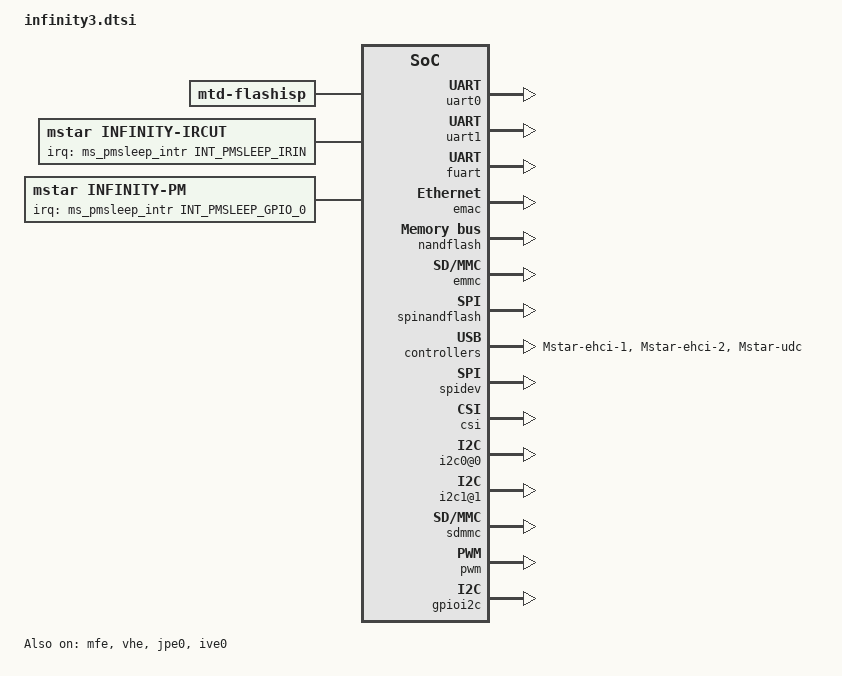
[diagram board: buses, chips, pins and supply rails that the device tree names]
/*
 * Copyright (c) 2014 MundoReader S.L.
 * Author: Matthias Brugger <matthias.bgg@gmail.com>
 *
 * This program is free software; you can redistribute it and/or modify
 * it under the terms of the GNU General Public License as published by
 * the Free Software Foundation; either version 2 of the License, or
 * (at your option) any later version.
 *
 * This program is distributed in the hope that it will be useful,
 * but WITHOUT ANY WARRANTY; without even the implied warranty of
 * MERCHANTABILITY or FITNESS FOR A PARTICULAR PURPOSE.  See the
 * GNU General Public License for more details.
 */

#include <../../../../drivers/mstar/include/infinity3/irqs.h>
#include <../../../../drivers/mstar/include/infinity3/gpio.h>
#include <dt-bindings/interrupt-controller/irq.h>
#include <dt-bindings/interrupt-controller/arm-gic.h>
#include "skeleton.dtsi"


/ {
    cpus {
        #address-cells = <1>;
        #size-cells = <0>;

        cpu@0 {
            device_type = "cpu";
            compatible = "arm,cortex-a7";
            clocks = <&CLK_cpupll_clk>;
        };
    };

    aliases {
        console = &uart0;
        serial0 = &uart0;
        serial1 = &uart1;
        serial2 = &fuart;
    };

    soc {
        compatible = "simple-bus";
        interrupt-parent = <&gic>;
        #address-cells = <1>;
        #size-cells = <1>;
        ranges;

        gic: interrupt-controller@16000000 {
            compatible = "arm,cortex-a7-gic";
            #interrupt-cells = <3>;
            #address-cells = <1>;
            #size-cells = <1>;
            interrupt-controller;
            reg = <0x16001000 0x1000>,
                  <0x16002000 0x1000>;
        };

        ms_pmsleep_intr: interrupt-controller@0 {
            compatible = "mstar,pmsleep-intr";
            #interrupt-cells = <1>;
            interrupt-parent=<&gic>;
            interrupt-controller;
        };


        arch_timer {
            compatible = "arm,cortex-a7-timer", "arm,armv7-timer";
            interrupts = <GIC_PPI 13 (GIC_CPU_MASK_SIMPLE(2) | IRQ_TYPE_LEVEL_LOW)>,
                         <GIC_PPI 14 (GIC_CPU_MASK_SIMPLE(2) | IRQ_TYPE_LEVEL_LOW)>,
                         <GIC_PPI 11 (GIC_CPU_MASK_SIMPLE(2) | IRQ_TYPE_LEVEL_LOW)>,
                         <GIC_PPI 10 (GIC_CPU_MASK_SIMPLE(2) | IRQ_TYPE_LEVEL_LOW)>;
            clock-frequency = <6000000>;
        };

        pmu {
            compatible = "arm,cortex-a7-pmu";
            interrupts = <GIC_SPI 10 IRQ_TYPE_LEVEL_HIGH>,
                         <GIC_SPI 16 IRQ_TYPE_LEVEL_HIGH>,
                         <GIC_SPI 22 IRQ_TYPE_LEVEL_HIGH>,
                         <GIC_SPI 28 IRQ_TYPE_LEVEL_HIGH>;
        };

        clks: clocks{
            #address-cells = <1>;
            #size-cells = <1>;
            ranges;
        };

/*
        timer_clockevent: timer@1F006040 {
            compatible = "mstar,piu-clockevent";
            reg = <0x1F006040 0x100>;
            interrupts=<GIC_SPI INT_FIQ_TIMER_0 IRQ_TYPE_LEVEL_HIGH>;
            clocks = <&CLK_xtali_12m>;
        };
*/
        mfe: mfe {
            compatible = "mstar,mfe";
            reg = <0x1F264800 0x200>;
            interrupts=<GIC_SPI INT_IRQ_MFE IRQ_TYPE_LEVEL_HIGH>;
            clocks = <&CLK_mfe>,<&GATE_MCM_mfe>, <&GATE_SRAM_mfe>;
            clock-names = "CKG_mfe";
            status = "ok";
        };

        vhe: vhe {
            compatible = "mstar,vhe";
            reg = <0x1F265200 0x200>,<0x1F265000 0x100>;
            interrupts=<GIC_SPI INT_IRQ_VHE IRQ_TYPE_LEVEL_HIGH>;
            clocks = <&CLK_vhe>,<&GATE_MCM_vhe>, <&GATE_SRAM_vhe>;
            clock-names = "CKG_vhe";
            status = "ok";
        };

        hvsp1: hvsp1 {
            compatible = "mstar,hvsp1";
            //reg = <0x1F000000 0x100>;
            //clk,chiptop,hvsp0,sc0,dnr,ldc
            clocks = <&CLK_idclk>,<&CLK_fclk1>,<&CLK_fclk2>,<&CLK_odclk>;
            clock-names = "CLK_idclk","CLK_fclk1","CLK_fclk2","CLK_odclk";
            status = "ok";
            DigitalZoom-Dropmode = <1>;
            interrupts = <GIC_SPI INT_IRQ_SC_TOP IRQ_TYPE_LEVEL_HIGH>, <GIC_SPI INT_IRQ_CMDQ IRQ_TYPE_LEVEL_HIGH>;
        };

        hvsp2: hvsp2 {
            compatible = "mstar,hvsp2";
            //reg = <0x1F000000 0x100>;
            //clk,chiptop,hvsp0,sc0,dnr,ldc
            clocks = <&CLK_idclk>,<&CLK_fclk1>,<&CLK_fclk2>,<&CLK_odclk>;
            clock-names = "CLK_idclk","CLK_fclk1","CLK_fclk2","CLK_odclk";
            status = "ok";
            interrupts = <GIC_SPI INT_IRQ_SC_TOP IRQ_TYPE_LEVEL_HIGH>, <GIC_SPI INT_IRQ_CMDQ IRQ_TYPE_LEVEL_HIGH>;
        };

        hvsp3: hvsp3 {
            compatible = "mstar,hvsp3";
            //reg = <0x1F000000 0x100>;
            //clk,chiptop,hvsp0,sc0,dnr,ldc
            clocks = <&CLK_idclk>,<&CLK_fclk1>,<&CLK_fclk2>,<&CLK_odclk>;
            clock-names = "CLK_idclk","CLK_fclk1","CLK_fclk2","CLK_odclk";
            status = "ok";
            interrupts = <GIC_SPI INT_IRQ_SC_TOP IRQ_TYPE_LEVEL_HIGH>, <GIC_SPI INT_IRQ_CMDQ IRQ_TYPE_LEVEL_HIGH>;
        };

        scldma1: scldma1 {
            compatible = "mstar,scldma1";
            //reg = <0x1F000000 0x100>;
            //clk,chiptop,scldma
            clocks =  <&CLK_idclk>,<&CLK_fclk1>,<&CLK_fclk2>,<&CLK_odclk>;
            clock-names = "CLK_idclk","CLK_fclk1","CLK_fclk2","CLK_odclk";
            status = "ok";
            interrupts = <GIC_SPI INT_IRQ_SC_TOP IRQ_TYPE_LEVEL_HIGH>;
        };
        scldma2: scldma2 {
            compatible = "mstar,scldma2";
            //reg = <0x1F000000 0x100>;
            //clk,chiptop,scldma
            clocks =  <&CLK_idclk>,<&CLK_fclk1>,<&CLK_fclk2>,<&CLK_odclk>;
            clock-names = "CLK_idclk","CLK_fclk1","CLK_fclk2","CLK_odclk";
            status = "ok";
            interrupts = <GIC_SPI INT_IRQ_SC_TOP IRQ_TYPE_LEVEL_HIGH>;
        };
        scldma3: scldma3 {
            compatible = "mstar,scldma3";
            //reg = <0x1F000000 0x100>;
            //clk,chiptop,scldma
            clocks =  <&CLK_idclk>,<&CLK_fclk1>,<&CLK_fclk2>,<&CLK_odclk>;
            clock-names = "CLK_idclk","CLK_fclk1","CLK_fclk2","CLK_odclk";
            status = "ok";
            interrupts = <GIC_SPI INT_IRQ_SC_TOP IRQ_TYPE_LEVEL_HIGH>;
        };
        scldma4: scldma4 {
            compatible = "mstar,scldma4";
            //reg = <0x1F000000 0x100>;
            //clk,chiptop,scldma
            clocks =  <&CLK_idclk>,<&CLK_fclk1>,<&CLK_fclk2>,<&CLK_odclk>;
            clock-names = "CLK_idclk","CLK_fclk1","CLK_fclk2","CLK_odclk";
            status = "ok";
            interrupts = <GIC_SPI INT_IRQ_SC_TOP IRQ_TYPE_LEVEL_HIGH>;
        };

        vip: vip {
            compatible = "mstar,vip";
            status = "ok";
            CMDQ-mode = <1>;
            //reg = <0x1F224000 0x200>;
        };

        pnl: pnl {
            compatible = "mstar,pnl";
            status = "ok";
            ttl-mode = <1>;
            jtag-mode = <0>;
            //Reg = <0x1F224000 0x200>;
        };

        uart0: uart0@1F221000 {
            compatible = "mstar,uart";
            reg = <0x1F221000 0x100>;
            interrupts = <GIC_SPI INT_IRQ_UART_0 IRQ_TYPE_LEVEL_HIGH>;
            clocks = <&CLK_uart0>;
            status = "ok";
        };
        uart1: uart1@1F221200 {
            compatible = "mstar,uart";
            reg = <0x1F221200 0x100>;
            interrupts = <GIC_SPI INT_IRQ_UART_1 IRQ_TYPE_LEVEL_HIGH>;
            clocks = <&CLK_uart1>;
            pad = <PAD_UART1_TX>;
            //pad = <PAD_FUART_RTS>;
            //pad = <PAD_GPIO6>;
            status = "ok";
        };
        fuart: uart2@1F220400 {
            compatible = "mstar,uart";
            reg = <0x1F220400 0x100>, <0x1F220600 0x100>;
            interrupts = <GIC_SPI INT_IRQ_FUART IRQ_TYPE_LEVEL_HIGH>, <GIC_SPI INT_IRQ_URDMA IRQ_TYPE_LEVEL_HIGH>;
            clocks = <&CLK_fuart>;
            dma = <1>;
            pad = <PAD_UART0_TX>;
            //pad = <PAD_FUART_TX>;
            //pad = <PAD_GPIO4>;
            status = "ok";
        };

        emac {
            compatible = "mstar-emac";
            interrupts = <GIC_SPI INT_IRQ_EMAC IRQ_TYPE_LEVEL_HIGH>, <GIC_SPI INT_FIQ_LAN_ESD IRQ_TYPE_LEVEL_HIGH>;
            clocks = <&CLK_emac_ahb>,<&CLK_emac_tx>,<&CLK_emac_rx>,<&GATE_MCM_emac>, <&GATE_SRAM_emac>;
            //led-orange = <PAD_SPI0_DI>; //software toggle GPIO LED For QFN
            //led-green = <PAD_SPI0_DO>;  //software toggle GPIO LED For QFN
        };

        flashisp {
            compatible = "mtd-flashisp";
            clocks = <&CLK_bdma>;
            quadread = <0>;
            status = "ok";
        };

        nandflash {
            compatible = "ms-nand";
            clocks =<&CLK_fcie>, <&CLK_ecc>, <&GATE_MCM_fcie>, <&GATE_SRAM_fcie>;
            interrupts =  <GIC_SPI INT_IRQ_FCIE IRQ_TYPE_LEVEL_HIGH>;
            status = "ok";
        };

		emmc {
            compatible = "mstar_mci";
            clocks =<&CLK_fcie>, <&CLK_ecc>, <&GATE_MCM_fcie>, <&GATE_SRAM_fcie>;
            interrupts =  <GIC_SPI INT_IRQ_FCIE IRQ_TYPE_LEVEL_HIGH>;
            status = "ok";
        };


        spinandflash {
            compatible = "ms-spinand";
            clocks =<&CLK_bdma>;
            status = "ok";
        };

        Mstar-ehci-1 {
            compatible = "Mstar-ehci-1";
            clocks = <&CLK_utmi>, <&GATE_MCM_usb>, <&GATE_SRAM_usb>;
            interrupts = <GIC_SPI INT_IRQ_UHC IRQ_TYPE_LEVEL_HIGH>;
            dpdm_swap=<0>;
            power-enable-pad = <PAD_PM_GPIO2>; //PAD_SPI0_CK
            status = "ok";
        };

        Mstar-ehci-2 {
            compatible = "Mstar-ehci-2";
            clocks = <&CLK_utmi>, <&GATE_MCM_usb>, <&GATE_SRAM_usb>;
            interrupts = <GIC_SPI INT_IRQ_UHC_INT_P1 IRQ_TYPE_LEVEL_HIGH>;
            dpdm_swap=<0>;
            status = "ok";
        };

        Mstar-udc {
            compatible = "Mstar-udc";
            interrupts = <GIC_SPI INT_IRQ_OTG IRQ_TYPE_LEVEL_HIGH>;
            status = "ok";
        };

        isp: isp {
            compatible = "isp";
            io_phy_addr = <0x1f000000>;
            banks = <0x1302>,<0x1303>,<0x1304>,<0x1305>,<0x1306>,<0x1307>,<0x1308>,<0x1309>,<0x130A>,<0x130B>;
            interrupts = <GIC_SPI INT_IRQ_ISP IRQ_TYPE_LEVEL_HIGH>;
            clocks = <&CLK_isp>,<&CLK_sr_mclk>,<&CLK_sr>,<&CLK_csi_mac>;
            status = "ok";
            clk-pad = <PAD_SR_IO17>;
            //clk-pad = <PAD_SPI0_CK>; //be compatible with the previous QFN, so it must reserved 4 pins for SPI0 pads
            //isp-flag = <0>;
        };
        spi: spi {
            compatible = "mstar_spi";
            io_phy_addr = <0x1f000000>;
            banks = <0x1110>,<0x1111>,<0x1038>,<0x101E>;
            interrupts = <GIC_SPI INT_IRQ_MSPI_0 IRQ_TYPE_LEVEL_HIGH>,<GIC_SPI INT_IRQ_MSPI_1 IRQ_TYPE_LEVEL_HIGH>;
            spi0_mode = <1>;
            spi1_mode = <1>;
            status = "disabled";
        };
        spidev: spidev {
            compatible = "spidev";
        };
        csi: csi {
            compatible = "csi";
            io_phy_addr = <0x1f000000>;
            banks = <0x1204>;
            interrupts = <GIC_SPI INT_IRQ_MIPI_CSI2 IRQ_TYPE_LEVEL_HIGH>;
            status = "ok";
        };

        jpe0: jpe@0x1F264000 {
            compatible = "mstar,cedric-jpe";
            reg = <0x1F264000 0x100>;
            interrupts = <GIC_SPI INT_IRQ_JPE IRQ_TYPE_LEVEL_HIGH>;
            clocks = <&CLK_jpe>,<&GATE_MCM_jpe>, <&GATE_SRAM_jpe>;
            clock-names = "CKG_jpe";
            clk-select = <0>; // 0: 288MHz  1: 216MHz  2: 54MHz  3: 27MHz
            status = "ok";
        };

        ive0: ive@0x1F2A4000 {
            compatible = "mstar,infinity3-ive";
            reg = <0x1F2A4000 0x100>,<0x1F2A4200 0x100>;
            interrupts = <GIC_SPI INT_IRQ_IVE_INT IRQ_TYPE_LEVEL_HIGH>;
            clocks = <&CLK_ive>,<&CLK_miu_ive>;
            status = "ok";
        };

        i2c0@0{
            compatible = "mstar,i2c";
            reg = <0x1F223000 0x200>,<0x1F203c00 0x200>,<0x1F207000 0x200>;
                #address-cells = <1>;
                #size-cells = <0>;
            clocks = <&CLK_miic0>;
            i2c-group = <0>;
//            status = "disable";
            /*
             * padmux: 1 -> PAD_I2C0_SCL, PAD_I2C0_SDA
             *         2 -> PAD_PWM0, PAD_PWM1
             *         3 -> PAD_SR_IO00, PAD_SR_IO01
            */
            i2c-padmux = <1>;
        };

        i2c1@1{
            compatible = "mstar,i2c";
            reg = <0x1F223200 0x200>,<0x1F203c00 0x200>,<0x1F207000 0x200>;
                #address-cells = <1>;
                #size-cells = <0>;
            clocks = <&CLK_miic1>;
            i2c-group = <1>;
            /*
             * padmux: 1 -> PAD_I2C1_SCL, PAD_I2C1_SDA
             *         2 -> PAD_PWM0, PAD_PWM1
             *         3 -> PAD_SR_IO00, PAD_SR_IO01
            */
            i2c-padmux = <1>;

//            24c512@54 {
//                compatible = "mstar,24c512";
//                reg = <0x54>;
//            };
        };


        gpio:gpio{
            compatible = "mstar,gpio";
        };

        sound {
            compatible = "mstar,infinity3-audio";
//            reg = <0x1F000000 0x1000000>;
            interrupts=<GIC_SPI INT_IRQ_BACH IRQ_TYPE_LEVEL_HIGH>;
            playback-volume-level=<64>;    //0~94
            capture-volume-level=<64>;
           // micin-pregain-level=<1>;    //0~3
            micin-pregain-level=<0>;    //0~3
            micin-gain-level=<3>;    //0~7
            linein-gain-level=<2>;  //0~7
            amp-gpio = <PAD_PM_GPIO1  1>;
            clocks = <&CLK_upll_384m>, <&GATE_MCM_bach>, <&GATE_SRAM_bach>;
           // playback-dma-buffer=<98304>; //512(ms)*48(kHz)*2(ch)*2(16bits)
           // capture-dma-buffer=<81920>; //640(ms)*32(kHz)*2(ch)*2(16bits)
        };

        sdmmc {
            compatible = "mstar,sdmmc";

            slotnum = <1>;
            revcdz = <0>;

            slot-ip-orders = <0>,<1>,<2>;
            slot-pad-orders = <0>,<1>,<2>;
            slot-max-clks = <48000000>,<48000000>,<48000000>;
	           slot-intcdzs = <1>,<1>,<1>;
	           slot-fakecdzs = <0>,<0>,<0>;
            slot-pwr-gpios = <19>,<0>,<0>;

            clocks = <&CLK_sdio>,<&GATE_MCM_sdio>,<&GATE_SRAM_sdio>,<&CLK_fcie>,<&GATE_MCM_fcie>,<&GATE_SRAM_fcie>;

        };

        aesdma {
            compatible = "mstar,infinity-aes";
            clocks = <&CLK_aesdma>,<&GATE_MCM_aesdma>, <&GATE_SRAM_aesdma>;
        };

        gop{
            compatible = "mstar,infinity-gop";
            clocks = <&CLK_gop0>,<&CLK_fclk1>,<&GATE_MCM_gop>, <&GATE_SRAM_gop>;
            status = "ok";
        };

        gop1{
            compatible = "mstar,infinity-gop1";
            clocks = <&CLK_gop1>,<&CLK_fclk1>,<&GATE_MCM_gop>, <&GATE_SRAM_gop>;
            status = "ok";
        };

        gop2{
            compatible = "mstar,infinity-gop2";
            clocks = <&CLK_gop2>,<&CLK_fclk2>,<&GATE_MCM_gop>, <&GATE_SRAM_gop>;
            status = "ok";
        };

        rtc {
            compatible = "mstar,infinity-rtc";
            reg = <0x1F002400 0x40>;
            interrupts=<GIC_SPI INT_IRQ_RTC IRQ_TYPE_LEVEL_HIGH>;
            clocks = <&CLK_rtc>;
        };

        cpufreq {
            compatible = "mstar,infinity-cpufreq";
//            vid0-gpio = <PAD_PM_GPIO7>;
            vid1-gpio = <PAD_PM_GPIO8>;
        };

        watchdog: watchdog {
            compatible = "mstar,infinity-wdt";
            reg = <0x1F006000 0x40>;
        };

        sar: sar {
            compatible = "mstar,infinity-sar";
            reg = <0x1F002800 0x200>;
        };

        ircut {
            compatible = "mstar,infinity-ircut";
            ircut-gpio-num = <PAD_PM_IRIN>;///PM_GPIO_IRIN
            interrupt-parent = <&ms_pmsleep_intr>;
            interrupts = <INT_PMSLEEP_IRIN>;
        };

        pwm {
            compatible = "mstar,infinity3-pwm";
            reg = <0x1F003400 0x400>;
            clocks = <&CLK_xtali_12m>;
            npwm = <8>;
            pad-ctrl = <PAD_PWM0 PAD_PWM1 PAD_UNKNOWN PAD_UNKNOWN PAD_NAND_DA4 PAD_UNKNOWN PAD_UNKNOWN PAD_NAND_DA7>;
        };

        gpioi2c {
            compatible = "mstar,infinity-gpioi2c";
            sda-gpio = <PAD_GPIO8>;
            scl-gpio = <PAD_GPIO9>;
        };

        pm {
            compatible = "mstar,infinity-pm";
            interrupt-parent = <&ms_pmsleep_intr>;
            interrupts = <INT_PMSLEEP_GPIO_0>;
            detect-gpio = <PAD_PM_GPIO0>;
        };
    };
};

&clks {
    #include <../../../../drivers/mstar/include/infinity3/reg_clks.h>
    #include "infinity3-clks.dtsi"
    #include "infinity3-gates.dtsi"
};

